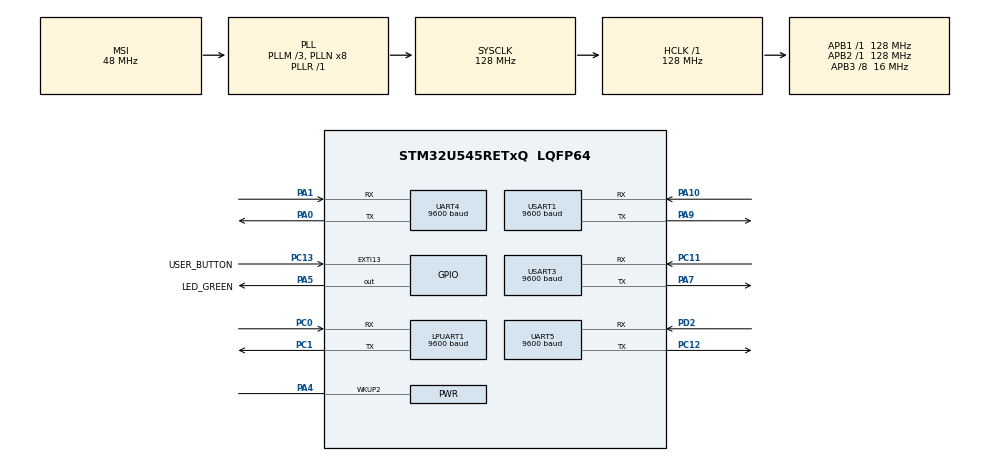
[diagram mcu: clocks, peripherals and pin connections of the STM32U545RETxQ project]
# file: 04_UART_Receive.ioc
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CORTEX_M33_NS.userName=CORTEX_M33
GPDMA1.ChannelPRIV_GPDMACH15=DMA_CHANNEL_PRIV
GPDMA1.IPHANDLE_GPDMACH11-SIMPLEREQUEST_GPDMACH11=__NULL
GPDMA1.IPHANDLE_GPDMACH12-SIMPLEREQUEST_GPDMACH12=__NULL
GPDMA1.IPHANDLE_GPDMACH13-SIMPLEREQUEST_GPDMACH13=__NULL
GPDMA1.IPHANDLE_GPDMACH14-SIMPLEREQUEST_GPDMACH14=__NULL
GPDMA1.IPHANDLE_GPDMACH15-SIMPLEREQUEST_GPDMACH15=__NULL
GPDMA1.PRIORITY_GPDMACH15=DMA_LOW_PRIORITY_LOW_WEIGHT
GPDMA1.RECAP_GPDMACH15=GPDMA1_REQUEST_UART5_RX
GPDMA1.REQUEST_GPDMACH11=GPDMA1_REQUEST_LPUART1_RX
GPDMA1.REQUEST_GPDMACH12=GPDMA1_REQUEST_USART1_RX
GPDMA1.REQUEST_GPDMACH13=GPDMA1_REQUEST_USART3_RX
GPDMA1.REQUEST_GPDMACH14=GPDMA1_REQUEST_UART4_RX
GPDMA1.REQUEST_GPDMACH15=GPDMA1_REQUEST_UART5_RX
GPDMA1.TRANSFERALLOCATEDPORTSRC_GPDMACH15=DMA_SRC_ALLOCATED_PORT0
GPDMA1.TRIGGERPOLARITY_GPDMACH15=DMA_TRIG_POLARITY_MASKED
LPUART1.BaudRate=9600
LPUART1.FIFOMode=UART_FIFOMODE_ENABLE
LPUART1.Mode=UART_MODE_RX
Mcu.Family=STM32U5
Mcu.Name=STM32U545RETxQ
Mcu.Package=LQFP64
NVIC.EXTI13_IRQn=true\:0\:0\:false\:false\:true\:true\:true\:true
NVIC.GPDMA1_Channel11_IRQn=true\:0\:0\:false\:false\:true\:false\:true\:true
NVIC.GPDMA1_Channel12_IRQn=true\:0\:0\:false\:false\:true\:false\:true\:true
NVIC.GPDMA1_Channel13_IRQn=true\:0\:0\:false\:false\:true\:false\:true\:true
NVIC.GPDMA1_Channel14_IRQn=true\:0\:0\:false\:false\:true\:false\:true\:true
NVIC.GPDMA1_Channel15_IRQn=true\:0\:0\:false\:false\:true\:true\:true\:true
NVIC.LPUART1_IRQn=true\:0\:0\:false\:false\:true\:true\:true\:true
NVIC.PWR_S3WU_IRQn=true\:0\:0\:false\:false\:true\:true\:true\:true
NVIC.PriorityGroup=NVIC_PRIORITYGROUP_4
NVIC.UART4_IRQn=true\:0\:0\:false\:false\:true\:true\:true\:true
NVIC.UART5_IRQn=true\:0\:0\:false\:false\:true\:true\:true\:true
NVIC.USART1_IRQn=true\:0\:0\:false\:false\:true\:true\:true\:true
NVIC.USART3_IRQn=true\:0\:0\:false\:false\:true\:true\:true\:true
PA0.Mode=Asynchronous
PA0.Signal=UART4_TX
PA1.Mode=Asynchronous
PA1.Signal=UART4_RX
PA10.Mode=Asynchronous
PA10.Signal=USART1_RX
PA4.Mode=WakeUp2
PA4.Signal=PWR_WKUP2
PA5.GPIO_Label=LED_GREEN
PA5.GPIO_PuPd=GPIO_PULLUP
PA5.GPIO_Speed=GPIO_SPEED_FREQ_HIGH
PA5.Signal=GPIO_Output
PA7.Mode=Asynchronous
PA7.Signal=USART3_TX
PA9.Mode=Asynchronous
PA9.Signal=USART1_TX
PC0.Mode=Asynchronous
PC0.Signal=LPUART1_RX
PC1.Mode=Asynchronous
PC1.Signal=LPUART1_TX
PC11.Mode=Asynchronous
PC11.Signal=USART3_RX
PC12.Mode=Asynchronous
PC12.Signal=UART5_TX
PC13.GPIO_Label=USER_BUTTON
PC13.GPIO_ModeDefaultEXTI=GPIO_MODE_IT_FALLING
PC13.Signal=GPXTI13
PC14-OSC32_IN\ (PC14).Mode=LSE-External-Oscillator
PC14-OSC32_IN\ (PC14).Signal=RCC_OSC32_IN
PC15-OSC32_OUT\ (PC15).Mode=LSE-External-Oscillator
PC15-OSC32_OUT\ (PC15).Signal=RCC_OSC32_OUT
PD2.Mode=Asynchronous
PD2.Signal=UART5_RX
PWR.PowerMode=PWR_SMPS_SUPPLY
ProjectManager.HeapSize=0x200
ProjectManager.StackSize=0x400
ProjectManager.TargetToolchain=STM32CubeIDE
RCC.ADCFreq_Value=16000000
RCC.AHBFreq_Value=128000000
RCC.APB1Freq_Value=128000000
RCC.APB1TimFreq_Value=128000000
RCC.APB2Freq_Value=128000000
RCC.APB2TimFreq_Value=128000000
RCC.APB3CLKDivider=RCC_HCLK_DIV8
RCC.APB3Freq_Value=16000000
RCC.CortexFreq_Value=128000000
RCC.DACCLockSelectionVirtual=RCC_DAC1CLKSOURCE_LSI
RCC.DACCLockSelectionVirtualString=RCC_DAC1CLKSOURCE_LSI
RCC.EPOD_VALUE=48000000
RCC.HCLKFreq_Value=128000000
RCC.HSE_VALUE=16000000
RCC.HSI48_VALUE=48000000
RCC.HSI_VALUE=16000000
RCC.LSIDIV_VALUE=32000
RCC.MSIClockRange=RCC_MSIRANGE_0
RCC.MSI_VALUE=48000000
RCC.PLL1R=1
RCC.PLLFRACN=0
RCC.PLLM=3
RCC.PLLN=8
RCC.SYSCLKFreq_VALUE=128000000
RCC.SYSCLKSource=RCC_SYSCLKSOURCE_PLLCLK
RCC.USBFreq_Value=48000000
RCC.VCOOutputFreq_Value=128000000
UART4.AutonomousMode=AUTONOMOUS_MODE_DISABLE
UART4.BaudRate=9600
UART4.DMADisableonRxErrorParam=UART_ADVFEATURE_DMA_DISABLEONRXERROR
UART4.FIFOMode=FIFOMODE_ENABLE
UART4.OverrunDisableParam=UART_ADVFEATURE_OVERRUN_DISABLE
UART4.RXFIFOThreshold=RXFIFO_THRESHOLD_1EIGHTHFULL
UART5.AutonomousMode=AUTONOMOUS_MODE_DISABLE
UART5.BaudRate=9600
UART5.FIFOMode=FIFOMODE_ENABLE
UART5.Mode=MODE_RX
USART1.BaudRate=9600
USART1.FIFOMode=FIFOMODE_ENABLE
USART1.VirtualMode-Asynchronous=VM_ASYNC
USART3.AutonomousMode=AUTONOMOUS_MODE_DISABLE
USART3.BaudRate=9600
USART3.FIFOMode=FIFOMODE_ENABLE
USART3.Mode=MODE_RX
USART3.VirtualMode-Asynchronous=VM_ASYNC
VP_GPDMA1_VS_GPDMACH11.Mode=SIMPLEREQUEST_GPDMACH11
VP_GPDMA1_VS_GPDMACH12.Mode=SIMPLEREQUEST_GPDMACH12
VP_GPDMA1_VS_GPDMACH13.Mode=SIMPLEREQUEST_GPDMACH13
VP_GPDMA1_VS_GPDMACH14.Mode=SIMPLEREQUEST_GPDMACH14
VP_GPDMA1_VS_GPDMACH15.Mode=SIMPLEREQUEST_GPDMACH15
VP_ICACHE_VS_ICACHE.Mode=DirectMappedCache
VP_LPBAMQUEUE_VS_QUEUE.Mode=QUEUEMODE
VP_LPBAM_VS_SIG1.Mode=SmartRun
VP_LPBAM_VS_SIG4.Mode=LPDMA1
VP_MEMORYMAP_VS_MEMORYMAP.Mode=CurAppReg
VP_PWR_VS_DBSignals.Mode=DisableDeadBatterySignals
VP_PWR_VS_LPOM.Mode=PowerOptimisation
VP_PWR_VS_SECSignals.Mode=Security/Privilege
board=NUCLEO-U545RE-Q

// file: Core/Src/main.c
/* USER CODE BEGIN Header */
/**
 ******************************************************************************
 * @file           : main.c
 * @brief          : Main program body
 ******************************************************************************
 * @attention
 *
 * Copyright (c) 2024 STMicroelectronics.
 * All rights reserved.
 *
 * This software is licensed under terms that can be found in the LICENSE file
 * in the root directory of this software component.
 * If no LICENSE file comes with this software, it is provided AS-IS.
 *
 ******************************************************************************
 */
/* USER CODE END Header */
#include "main.h"
#include "gpdma.h"
#include "icache.h"
#include "usart.h"
#include "memorymap.h"
#include "gpio.h"

/* USER CODE BEGIN Includes */
#include "stdio.h"
/* USER CODE END Includes */

/* USER CODE BEGIN PV */
uint8_t buffer1[4];
unsigned char buf[4];
unsigned char pos_0;
unsigned char pos_1;
unsigned char pos_2;
unsigned char pos_3;
uint32_t average = 0;
uint16_t avg[3] = { 0 };
unsigned char rxBuffer[6];  // Buffer to hold received data
uint16_t distance;
char buffer[18];
int sum;
unsigned char test[1];
uint16_t distance;
char buffer[18];

uint8_t flag = 0;

uint8_t lower_limit[] = "Below The Lower Limit\r\n";
uint8_t error_read[] = "Reading Error\r\n";
uint8_t queue_fail[] = "Failed to Receive\r\n";
uint8_t queue_full[] = "Queue is Full\r\n";
/* USER CODE END PV */

void SystemClock_Config(void);
static void SystemPower_Config(void);
/* USER CODE BEGIN PFP */
void send_task_callback();
void Enter_Shutdown_Mode(void) {
	// Ensure all wakeup flags are cleared
	PWR->WUSCR |= PWR_WUSCR_CWUF;

	// Enable Wakeup pin (WKUP1) as wakeup source
	PWR->WUCR1 |= PWR_WAKEUP_PIN2_HIGH_1;

	// Select Shutdown mode in power control register
	PWR->CR1 &= ~PWR_CR1_LPMS;
	PWR->CR1 |= (0b11 << PWR_CR1_LPMS_Pos);

	// Set the SLEEPDEEP bit in Cortex System Control Register
	SCB->SCR |= SCB_SCR_SLEEPDEEP_Msk;

	// Request Wait For Interrupt
	__WFI();
}
/* USER CODE END PFP */

int main(void) {

	/* MCU Configuration--------------------------------------------------------*/

	/* Reset of all peripherals, Initializes the Flash interface and the Systick. */
	HAL_Init();

	/* Configure the system clock */
	SystemClock_Config();

	/* Configure the System Power */
	SystemPower_Config();

	/* Initialize all configured peripherals */
	MX_GPIO_Init();
	MX_GPDMA1_Init();
	MX_ICACHE_Init();
	MX_UART4_Init();
	MX_UART5_Init();
	MX_LPUART1_UART_Init();
	MX_USART1_UART_Init();
	MX_USART3_UART_Init();

	/* Infinite loop */
	while (1) {

		/* USER CODE BEGIN 3 */
		HAL_GPIO_WritePin(LED_GREEN_GPIO_Port, LED_GREEN_Pin, 1);
		for (int i = 0; i < 3; i++) {
			HAL_UART_Receive(&huart3, rxBuffer, 4, HAL_MAX_DELAY);
			if (rxBuffer[0] == 0xff) {
				distance = rxBuffer[1] * 256 + rxBuffer[2];
				if (distance == 250 || distance >= 65280) {
					i = -1;
					average = 0;
				} else {

					average = distance + average;
				}
			} else {
				HAL_UART_Receive(&huart3, &flag, 1, 100);
				i = -1;
				average = 0;
			}
		}

		sprintf(buffer, "Distance: %.1f\r\n", (float) average / 30);
		HAL_UART_Transmit(&huart1, (uint8_t*) buffer, sizeof(buffer),
				HAL_MAX_DELAY);
		HAL_Delay(100);
		HAL_GPIO_WritePin(LED_GREEN_GPIO_Port, LED_GREEN_Pin, 0);
		HAL_Delay(100);
		HAL_SuspendTick();
		Enter_Shutdown_Mode();
		HAL_ResumeTick();
		SystemClock_Config();
		HAL_Delay(100);
		SystemPower_Config();
		HAL_Delay(100);

	}
	/* USER CODE END 3 */
}

void SystemClock_Config(void) {
	RCC_OscInitTypeDef RCC_OscInitStruct = { 0 };
	RCC_ClkInitTypeDef RCC_ClkInitStruct = { 0 };

	/** Configure the main internal regulator output voltage
	 */
	if (HAL_PWREx_ControlVoltageScaling(PWR_REGULATOR_VOLTAGE_SCALE1)
			!= HAL_OK) {
		Error_Handler();
	}

	/** Initializes the CPU, AHB and APB buses clocks
	 */
	RCC_OscInitStruct.OscillatorType = RCC_OSCILLATORTYPE_MSI;
	RCC_OscInitStruct.MSIState = RCC_MSI_ON;
	RCC_OscInitStruct.MSICalibrationValue = RCC_MSICALIBRATION_DEFAULT;
	RCC_OscInitStruct.MSIClockRange = RCC_MSIRANGE_0;
	RCC_OscInitStruct.PLL.PLLState = RCC_PLL_ON;
	RCC_OscInitStruct.PLL.PLLSource = RCC_PLLSOURCE_MSI;
	RCC_OscInitStruct.PLL.PLLMBOOST = RCC_PLLMBOOST_DIV4;
	RCC_OscInitStruct.PLL.PLLM = 3;
	RCC_OscInitStruct.PLL.PLLN = 8;
	RCC_OscInitStruct.PLL.PLLP = 2;
	RCC_OscInitStruct.PLL.PLLQ = 2;
	RCC_OscInitStruct.PLL.PLLR = 1;
	RCC_OscInitStruct.PLL.PLLRGE = RCC_PLLVCIRANGE_1;
	RCC_OscInitStruct.PLL.PLLFRACN = 0;
	if (HAL_RCC_OscConfig(&RCC_OscInitStruct) != HAL_OK) {
		Error_Handler();
	}

	/** Initializes the CPU, AHB and APB buses clocks
	 */
	RCC_ClkInitStruct.ClockType = RCC_CLOCKTYPE_HCLK | RCC_CLOCKTYPE_SYSCLK
			| RCC_CLOCKTYPE_PCLK1 | RCC_CLOCKTYPE_PCLK2 | RCC_CLOCKTYPE_PCLK3;
	RCC_ClkInitStruct.SYSCLKSource = RCC_SYSCLKSOURCE_PLLCLK;
	RCC_ClkInitStruct.AHBCLKDivider = RCC_SYSCLK_DIV1;
	RCC_ClkInitStruct.APB1CLKDivider = RCC_HCLK_DIV1;
	RCC_ClkInitStruct.APB2CLKDivider = RCC_HCLK_DIV1;
	RCC_ClkInitStruct.APB3CLKDivider = RCC_HCLK_DIV8;

	if (HAL_RCC_ClockConfig(&RCC_ClkInitStruct, FLASH_LATENCY_3) != HAL_OK) {
		Error_Handler();
	}
}

/**
 * @brief Power Configuration
 * @retval None
 */
static void SystemPower_Config(void) {

	/*
	 * Switch to SMPS regulator instead of LDO
	 */
	if (HAL_PWREx_ConfigSupply(PWR_SMPS_SUPPLY) != HAL_OK) {
		Error_Handler();
	}
	/* PWR_S3WU_IRQn interrupt configuration */
	HAL_NVIC_SetPriority(PWR_S3WU_IRQn, 0, 0);
	HAL_NVIC_EnableIRQ(PWR_S3WU_IRQn);
}

/* USER CODE BEGIN 4 */
void send_task_callback() {
	// Infinite loop for the task
	uint16_t distance;
	HAL_GPIO_WritePin(LED_GREEN_GPIO_Port, LED_GREEN_Pin, GPIO_PIN_SET);
	for (int i = 0; i < 5; i++) {
		for (;;) {
//			HAL_UART_Receive_DMA(&huart4, buf, 4);
			HAL_UART_Receive(&huart4, buf, 4, 1000);
			HAL_Delay(1000);
			if (buf[0] != 0xff || (buf[0] == buf[3])) {
				HAL_GPIO_WritePin(LED_GREEN_GPIO_Port, LED_GREEN_Pin,
						GPIO_PIN_RESET);
				HAL_Delay(50);
				HAL_GPIO_WritePin(LED_GREEN_GPIO_Port, LED_GREEN_Pin,
						GPIO_PIN_SET);
				HAL_Delay(300);
			} else {
				break;
			}
		}

		if (buf[0] == 0xff) {
			distance = buf[1] * 256 + buf[2];
			if (distance == 250 || distance == 0 || distance >= 65280) {
				flag = 3;
				break;
			} else {
				flag = 1;
			}
		} else {
			flag = 2;
//			break;
		}
		if (flag == 3) {
			printf("%s\r\n", lower_limit);
			HAL_Delay(100);
			flag = 0;
		} else if (flag == 1) {
			printf("Distance: %d\r\n", distance);
			HAL_Delay(100);
			flag = 0;
		} else {
			printf("%s", error_read);
			flag = 0;
		}
		HAL_Delay(300);
	}
	HAL_GPIO_WritePin(LED_GREEN_GPIO_Port, LED_GREEN_Pin, GPIO_PIN_RESET);
	HAL_Delay(100);

}
/* USER CODE END 4 */

void Error_Handler(void) {
	__disable_irq();
	while (1) {
	}
}
